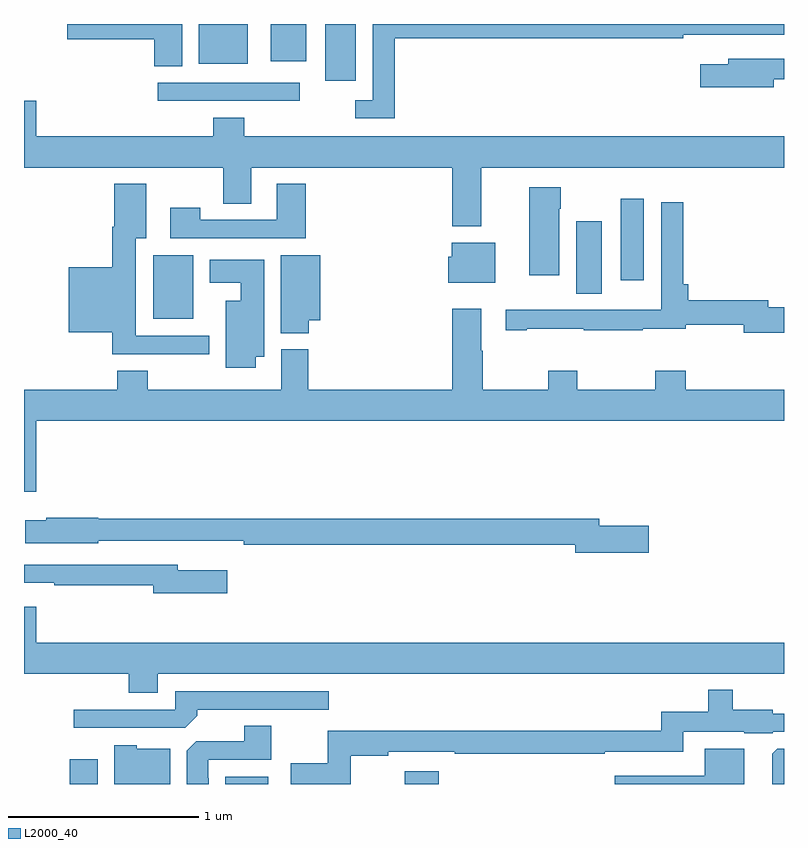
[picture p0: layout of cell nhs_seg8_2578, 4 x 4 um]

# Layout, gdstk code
import gdstk
lib = gdstk.Library(unit=1e-6, precision=1e-09)
def R(c, l, rs):  # rectangles x0, y0, x1, y1
    for r in rs: c.add(gdstk.rectangle(r[:2], r[2:], *l))
def P(c, l, *ps):  # polygons
    for p in ps: c.add(gdstk.Polygon(p, *l))
L2000_40 = (2000, 40)

nhs_seg8_2578 = lib.new_cell('nhs_seg8_2578')
R(nhs_seg8_2578, L2000_40, [(273.242,1135.9,273.388,1136.029), (274.058,1135.9,274.285,1135.939), (275.005,1135.9,275.183,1135.966), (273.68,1138.349,273.892,1138.684), (275.906,1138.48,276.04,1138.861), (276.14,1138.551,276.262,1138.981), (273.705,1139.496,274.45,1139.592), (274.586,1139.601,274.747,1139.9), (273.92,1139.69,274.177,1139.9), (274.298,1139.705,274.486,1139.9)])
P(nhs_seg8_2578, L2000_40, [(273.832,1139.9),(273.228,1139.9),(273.228,1139.819),(273.686,1139.819),(273.686,1139.677),(273.832,1139.677)],
  [(274.952,1139.824),(276.47,1139.824),(276.47,1139.844),(277,1139.844),(277,1139.9),(274.836,1139.9),(274.836,1139.499),(274.743,1139.499),(274.743,1139.403),(274.952,1139.403)],
  [(276.946,1139.61),(277,1139.61),(277,1139.718),(276.707,1139.718),(276.707,1139.689),(276.558,1139.689),(276.558,1139.567),(276.946,1139.567)],
  [(275.407,1139.144),(277,1139.144),(277,1139.308),(274.16,1139.308),(274.16,1139.407),(273.995,1139.407),(273.995,1139.308),(273.064,1139.308),(273.064,1139.497),(273,1139.497),(273,1139.144),(274.048,1139.144),(274.048,1138.954),(274.195,1138.954),(274.195,1139.144),(275.255,1139.144),(275.255,1138.835),(275.407,1138.835)],
  [(273.976,1138.26),(273.589,1138.26),(273.589,1138.772),(273.643,1138.772),(273.643,1139.059),(273.476,1139.059),(273.476,1138.832),(273.464,1138.832),(273.464,1138.621),(273.236,1138.621),(273.236,1138.277),(273.464,1138.277),(273.464,1138.163),(273.976,1138.163)],
  [(274.484,1139.059),(274.331,1139.059),(274.331,1138.869),(273.927,1138.869),(273.927,1138.933),(273.771,1138.933),(273.771,1138.773),(274.484,1138.773)],
  [(275.818,1138.928),(275.826,1138.928),(275.826,1139.041),(275.66,1139.041),(275.66,1138.578),(275.818,1138.578)],
  [(277,1138.409),(276.916,1138.409),(276.916,1138.445),(276.497,1138.445),(276.497,1138.531),(276.47,1138.531),(276.47,1138.963),(276.354,1138.963),(276.354,1138.396),(276.144,1138.396),(276.144,1138.395),(275.81,1138.395),(275.81,1138.397),(275.535,1138.397),(275.535,1138.287),(275.647,1138.287),(275.647,1138.297),(275.947,1138.297),(275.947,1138.287),(276.257,1138.287),(276.257,1138.297),(276.484,1138.297),(276.484,1138.317),(276.788,1138.317),(276.788,1138.274),(277,1138.274)],
  [(275.479,1138.75),(275.252,1138.75),(275.252,1138.674),(275.234,1138.674),(275.234,1138.538),(275.479,1138.538)],
  [(274.499,1138.34),(274.558,1138.34),(274.558,1138.684),(274.352,1138.684),(274.352,1138.273),(274.499,1138.273)],
  [(274.219,1138.148),(274.264,1138.148),(274.264,1138.66),(273.977,1138.66),(273.977,1138.538),(274.142,1138.538),(274.142,1138.444),(274.061,1138.444),(274.061,1138.092),(274.219,1138.092)],
  [(273.064,1137.812),(277,1137.812),(277,1137.976),(276.482,1137.976),(276.482,1138.075),(276.322,1138.075),(276.322,1137.976),(275.913,1137.976),(275.913,1138.075),(275.758,1138.075),(275.758,1137.976),(275.415,1137.976),(275.415,1138.181),(275.407,1138.181),(275.407,1138.402),(275.255,1138.402),(275.255,1137.976),(274.496,1137.976),(274.496,1138.188),(274.355,1138.188),(274.355,1137.976),(273.651,1137.976),(273.651,1138.075),(273.491,1138.075),(273.491,1137.976),(273,1137.976),(273,1137.438),(273.064,1137.438)],
  [(276.289,1137.26),(276.028,1137.26),(276.028,1137.296),(273.39,1137.296),(273.39,1137.302),(273.118,1137.302),(273.118,1137.289),(273.006,1137.289),(273.006,1137.167),(273.39,1137.167),(273.39,1137.18),(273.904,1137.18),(273.904,1137.179),(274.156,1137.179),(274.156,1137.16),(275.9,1137.16),(275.9,1137.118),(276.289,1137.118)],
  [(274.069,1137.025),(273.808,1137.025),(273.808,1137.054),(273,1137.054),(273,1136.958),(273.16,1136.958),(273.16,1136.946),(273.68,1136.946),(273.68,1136.903),(274.069,1136.903)],
  [(273.703,1136.48),(277,1136.48),(277,1136.644),(273.064,1136.644),(273.064,1136.833),(273,1136.833),(273,1136.48),(273.551,1136.48),(273.551,1136.381),(273.703,1136.381)],
  [(274.719,1136.05),(274.916,1136.05),(274.916,1136.07),(275.266,1136.07),(275.266,1136.058),(276.056,1136.058),(276.056,1136.07),(276.471,1136.07),(276.471,1136.174),(276.792,1136.174),(276.792,1136.168),(276.942,1136.168),(276.942,1136.175),(277,1136.175),(277,1136.271),(276.942,1136.271),(276.942,1136.29),(276.73,1136.29),(276.73,1136.395),(276.601,1136.395),(276.601,1136.279),(276.355,1136.279),(276.355,1136.179),(274.598,1136.179),(274.598,1136.008),(274.404,1136.008),(274.404,1135.9),(274.719,1135.9)],
  [(273.911,1136.258),(273.911,1136.292),(274.603,1136.292),(274.603,1136.388),(273.795,1136.388),(273.795,1136.292),(273.261,1136.292),(273.261,1136.196),(273.849,1136.196)],
  [(273.973,1135.931),(273.969,1135.931),(273.969,1136.028),(274.3,1136.028),(274.3,1136.207),(274.16,1136.207),(274.16,1136.124),(273.906,1136.124),(273.857,1136.075),(273.857,1135.9),(273.973,1135.9)],
  [(273.769,1136.086),(273.594,1136.086),(273.594,1136.104),(273.476,1136.104),(273.476,1135.9),(273.769,1135.9)],
  [(277,1136.086),(276.964,1136.086),(276.938,1136.06),(276.938,1135.9),(277,1135.9)],
  [(276.79,1136.086),(276.584,1136.086),(276.584,1135.944),(276.11,1135.944),(276.11,1135.9),(276.79,1135.9)])

lib.write_gds('nhs_seg8_2578.gds')
